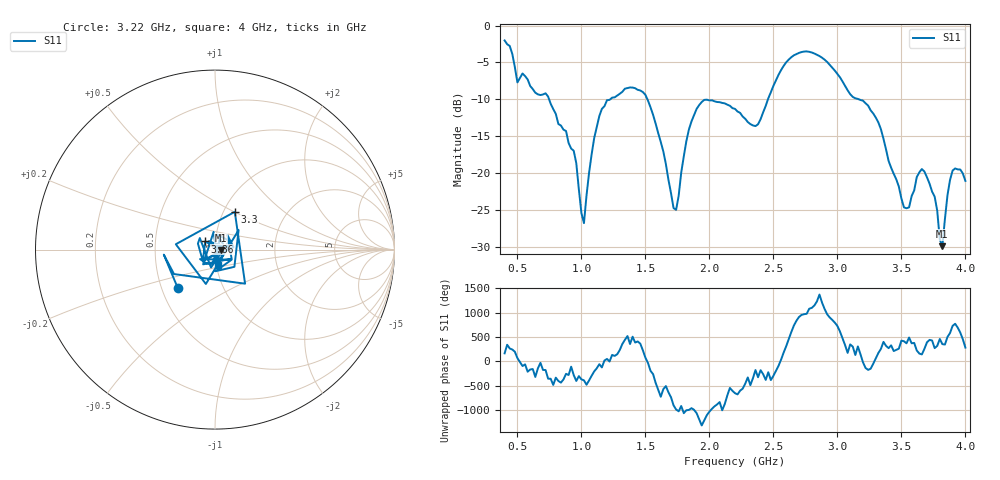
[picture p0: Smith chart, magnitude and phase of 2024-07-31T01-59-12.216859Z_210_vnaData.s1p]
!Created with skrf (http://scikit-rf.org).
# Hz S RI R 50.0
!freq ReS11 ImS11
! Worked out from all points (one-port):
!   181 points, 400 MHz to 4 GHz, reference 50 ohm
!   lowest |S11| = -29.9 dB at 3.82 GHz (marker M1), VSWR 1.07, Z = 53.3 - j0.392 ohm
!   |S11| at or under -10 dB: 747.4 MHz to 1.225 GHz (477.8 MHz wide, 48.4 % of centre); 1.516 GHz to 2.457 GHz (941.8 MHz wide, 47.4 % of centre); 3.167 GHz to end of sweep
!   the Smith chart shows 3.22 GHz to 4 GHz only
!   S11 on the Smith chart (normalised r, x): 3.22 GHz: 0.61, -0.28; 3.3 GHz: 1.13, +0.50; 3.86 GHz: 0.89, +0.08; 4 GHz: 1.02, -0.18
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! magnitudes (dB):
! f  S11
! 400 MHz  -2.0
! 500 MHz  -7.7
! 720 MHz  -9.2
! 860 MHz  -14.1
! 940 MHz  -17.0
! 1.02 GHz  -26.8
! 1.14 GHz  -12.3
! 1.3 GHz  -9.3
! 1.5 GHz  -9.4
! 1.64 GHz  -17.1
! 1.72 GHz  -24.8
! 1.76 GHz  -23.1
! 1.82 GHz  -15.7
! 1.9 GHz  -11.3
! 2.2 GHz  -11.3
! 2.38 GHz  -13.4
! 2.66 GHz  -4.0
! 2.88 GHz  -4.4
! 3.1 GHz  -9.3
! 3.22 GHz  -10.5
! 3.3 GHz  -12.5
! 3.56 GHz  -24.7
! 3.68 GHz  -19.8
! 3.76 GHz  -23.2
! 3.82 GHz  -29.9
! 3.86 GHz  -23.0
! 3.92 GHz  -19.4
! 4 GHz  -21.1
